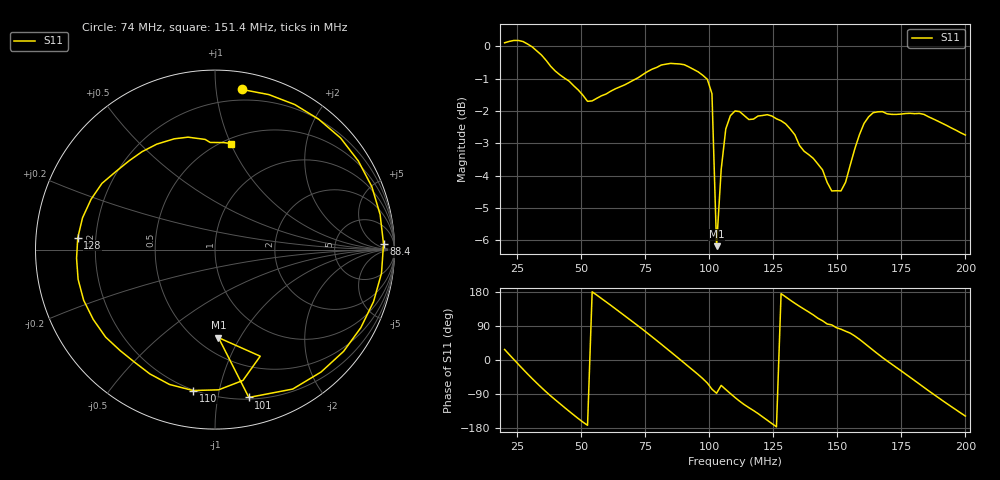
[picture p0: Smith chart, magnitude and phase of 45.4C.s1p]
# HZ S RI R 50
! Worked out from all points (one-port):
!   101 points, 20 MHz to 200 MHz, reference 50 ohm
!   lowest |S11| = -6.2 dB at 102.8 MHz (marker M1), VSWR 2.93, Z = 31.6 - j40.8 ohm
!   |S11| at or under -10 dB: nowhere
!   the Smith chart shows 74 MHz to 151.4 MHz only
!   S11 on the Smith chart (normalised r, x): 74 MHz: 0.12, +1.17; 88.4 MHz: 25, +13; 101 MHz: 0.21, -1.23; 110 MHz: 0.20, -0.84; 128 MHz: 0.13, +0.04; 151.4 MHz: 0.55, +1.01
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2e7  0.8963 0.4724
2.54e7  1.001 -0.2054
3.26e7  0.4753 -0.8616
3.8e7  -0.0773 -0.9286
4.34e7  -0.516 -0.7292
4.88e7  -0.7739 -0.3664
5.42e7  -0.8238 0.00112
5.96e7  -0.7561 0.375
6.5e7  -0.5143 0.6965
7.4e7  0.1494 0.8923
8.12e7  0.6993 0.6222
8.84e7  0.939 0.0318
9.56e7  0.7163 -0.5671
1.01e8  0.1886 -0.8237
1.028e8  0.0195 -0.4906
1.046e8  0.252 -0.594
1.1e8  -0.1229 -0.7851
1.208e8  -0.6784 -0.3891
1.28e8  -0.7646 0.0663
1.334e8  -0.6299 0.3689
1.424e8  -0.2272 0.6172
1.514e8  0.0909 0.5908
1.55e8  0.2136 0.6193
1.604e8  0.5361 0.5388
1.676e8  0.7875 0.0919
1.784e8  0.5512 -0.5633
1.892e8  -0.1096 -0.7587
2e8  -0.6183 -0.387
